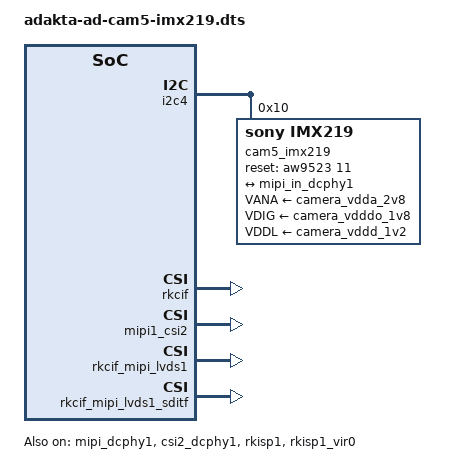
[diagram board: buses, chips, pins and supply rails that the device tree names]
/dts-v1/;
/plugin/;

#include <dt-bindings/clock/rk3588-cru.h>
#include <dt-bindings/power/rk3588-power.h>
#include <dt-bindings/gpio/gpio.h>
#include <dt-bindings/pinctrl/rockchip.h>

/ {
	metadata {
		title = "Enable Raspberry Pi Camera V2 5";
		compatible = "adakta,adakta-ad-rk3588";
		category = "camera";
		description = "Enable Raspberry Pi Camera V2 5";
	};

	fragment@0 {
		target = <&i2c4>;

		__overlay__ {
			status = "okay";

			cam5_imx219: cam5_imx219@3c {
				status = "okay";

				compatible = "sony,imx219";
				reg = <0x10>;

				pinctrl-names = "default";
				pinctrl-0 = <&aw9523_cam5_reset_pins>;

				reset-gpios = <&aw9523 11 GPIO_ACTIVE_HIGH>;

				clocks = <&ext_cam_clk>;
				clock-names = "xvclk";

				VANA-supply = <&camera_vdda_2v8>;  /* 2.8v */
				VDIG-supply = <&camera_vdddo_1v8>; /* 1.8v */
				VDDL-supply = <&camera_vddd_1v2>;  /* 1.2v */

				rockchip,camera-module-index = <5>;
				rockchip,camera-module-facing = "back";
				rockchip,camera-module-name = "rpi-camera-v2";
				rockchip,camera-module-lens-name = "default";

				port {
					cam5_imx219_out: endpoint {
						remote-endpoint = <&mipi_in_dcphy1>;
						data-lanes = <1 2>;
					};
				};
			};
		};
	};

	fragment@1 {
		target = <&mipi_in_dcphy1>;

		__overlay__ {
			remote-endpoint = <&cam5_imx219_out>;
			data-lanes = <1 2>;
		};
	};

	fragment@2 {
		target = <&rkcif>;

		__overlay__ {
			status = "okay";
		};
	};

	fragment@3 {
		target = <&rkcif_mmu>;

		__overlay__ {
			status = "okay";
		};
	};

	fragment@4 {
		target = <&mipi_dcphy1>;

		__overlay__ {
			status = "okay";
		};
	};

	fragment@5 {
		target = <&csi2_dcphy1>;

		__overlay__ {
			status = "okay";
		};
	};

	fragment@6 {
		target = <&mipi1_csi2>;

		__overlay__ {
			status = "okay";
		};
	};

	fragment@7 {
		target = <&rkcif_mipi_lvds1>;

		__overlay__ {
			status = "okay";
		};
	};

	fragment@8 {
		target = <&rkcif_mipi_lvds1_sditf>;

		__overlay__ {
			status = "okay";
		};
	};

	fragment@9 {
		target = <&rkisp1>;

		__overlay__ {
			status = "okay";
		};
	};

	fragment@10 {
		target = <&isp1_mmu>;

		__overlay__ {
			status = "okay";
		};
	};

	fragment@11 {
		target = <&rkisp1_vir0>;

		__overlay__ {
			status = "okay";
		};
	};
};
